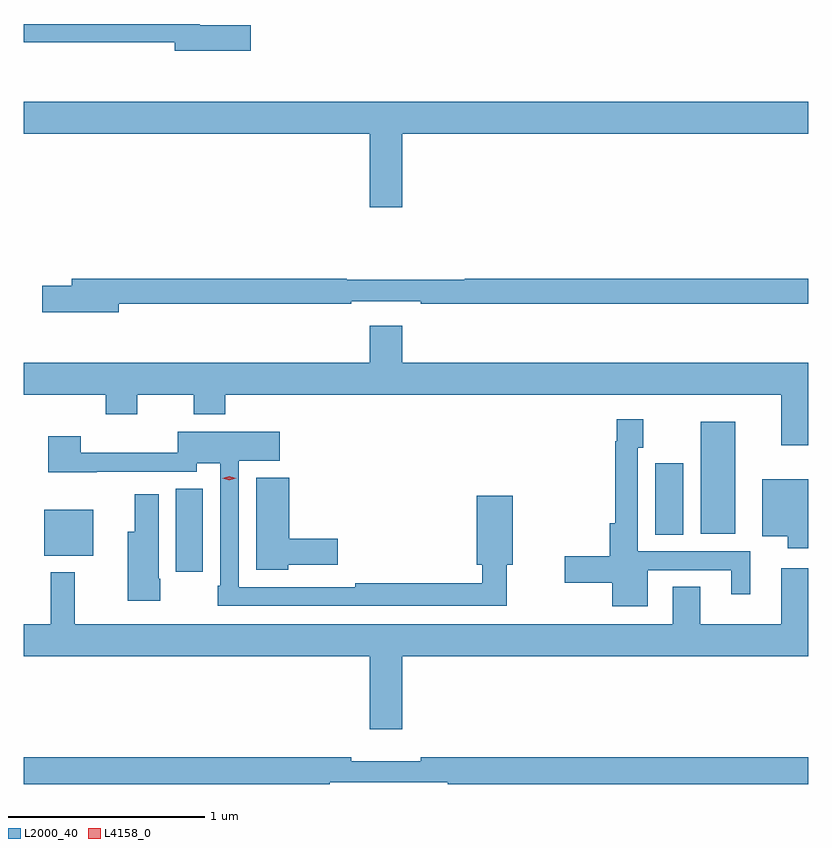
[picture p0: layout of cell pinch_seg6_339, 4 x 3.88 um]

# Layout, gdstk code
import gdstk
lib = gdstk.Library(unit=1e-6, precision=1e-09)
def R(c, l, rs):  # rectangles x0, y0, x1, y1
    for r in rs: c.add(gdstk.rectangle(r[:2], r[2:], *l))
def P(c, l, *ps):  # polygons
    for p in ps: c.add(gdstk.Polygon(p, *l))
L2000_40 = (2000, 40)
L4158_0 = (4158, 0)

pinch_seg6_339 = lib.new_cell('pinch_seg6_339')
R(pinch_seg6_339, L2000_40, [(703.478,941.106,703.615,941.531), (702.806,941.189,703.057,941.422), (705.923,941.296,706.066,941.659), (706.154,941.3,706.33,941.872)])
P(pinch_seg6_339, L2000_40, [(703.861,943.893),(703.6,943.893),(703.6,943.9),(702.703,943.9),(702.703,943.806),(703.472,943.806),(703.472,943.763),(703.861,943.763)],
  [(704.632,943.34),(706.703,943.34),(706.703,943.504),(702.703,943.504),(702.703,943.34),(704.468,943.34),(704.468,942.966),(704.632,942.966)],
  [(703.186,942.474),(704.372,942.474),(704.372,942.486),(704.728,942.486),(704.728,942.474),(706.703,942.474),(706.703,942.602),(704.951,942.602),(704.951,942.595),(704.351,942.595),(704.351,942.602),(702.947,942.602),(702.947,942.566),(702.798,942.566),(702.798,942.431),(703.186,942.431)],
  [(706.703,942.172),(704.632,942.172),(704.632,942.361),(704.468,942.361),(704.468,942.172),(702.703,942.172),(702.703,942.008),(703.121,942.008),(703.121,941.909),(703.281,941.909),(703.281,942.008),(703.57,942.008),(703.57,941.909),(703.73,941.909),(703.73,942.008),(706.565,942.008),(706.565,941.751),(706.703,941.751)],
  [(705.886,941.115),(706.31,941.115),(706.31,940.992),(706.408,940.992),(706.408,941.211),(705.834,941.211),(705.834,941.739),(705.861,941.739),(705.861,941.884),(705.726,941.884),(705.726,941.771),(705.718,941.771),(705.718,941.353),(705.692,941.353),(705.692,941.186),(705.462,941.186),(705.462,941.051),(705.704,941.051),(705.704,940.931),(705.886,940.931)],
  [(705.166,941.141),(705.197,941.141),(705.197,941.494),(705.014,941.494),(705.014,941.141),(705.041,941.141),(705.041,941.048),(704.392,941.048),(704.392,941.028),(703.8,941.028),(703.8,941.672),(704.008,941.672),(704.008,941.821),(703.488,941.821),(703.488,941.714),(702.992,941.714),(702.992,941.797),(702.827,941.797),(702.827,941.615),(703.075,941.615),(703.075,941.616),(703.584,941.616),(703.584,941.66),(703.704,941.66),(703.704,941.035),(703.692,941.035),(703.692,940.932),(705.166,940.932)],
  [(704.052,941.141),(704.305,941.141),(704.305,941.276),(704.056,941.276),(704.056,941.587),(703.889,941.587),(703.889,941.117),(704.052,941.117)],
  [(706.703,941.578),(706.469,941.578),(706.469,941.288),(706.598,941.288),(706.598,941.226),(706.703,941.226)],
  [(703.398,941.071),(703.39,941.071),(703.39,941.503),(703.268,941.503),(703.268,941.311),(703.232,941.311),(703.232,940.959),(703.398,940.959)],
  [(704.632,940.676),(706.703,940.676),(706.703,941.125),(706.565,941.125),(706.565,940.84),(706.153,940.84),(706.153,941.03),(706.013,941.03),(706.013,940.84),(702.962,940.84),(702.962,941.104),(702.841,941.104),(702.841,940.84),(702.703,940.84),(702.703,940.676),(704.468,940.676),(704.468,940.302),(704.632,940.302)],
  [(704.264,940.032),(704.864,940.032),(704.864,940.024),(706.703,940.024),(706.703,940.16),(704.728,940.16),(704.728,940.141),(704.372,940.141),(704.372,940.16),(702.703,940.16),(702.703,940.024),(704.264,940.024)])
P(pinch_seg6_339, L4158_0, [(703.751,941.573),(703.716,941.583),(703.716,941.583),(703.716,941.583),(703.751,941.593),(703.786,941.583),(703.786,941.583),(703.786,941.583)])

lib.write_gds('pinch_seg6_339.gds')
